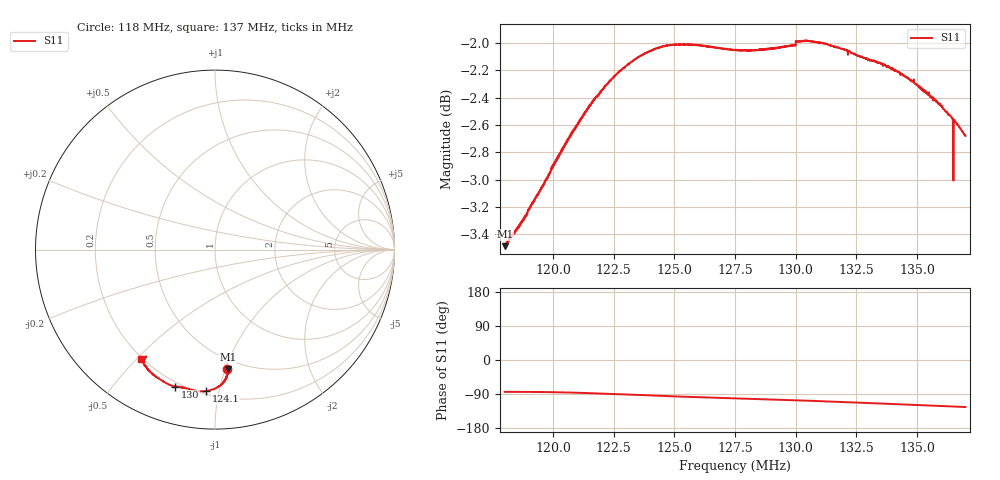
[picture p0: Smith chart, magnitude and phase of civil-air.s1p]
! Calibrated averaged scanner-service zoom
# Hz S RI R 50
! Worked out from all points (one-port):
!   2001 points, 118 MHz to 137 MHz, reference 50 ohm
!   lowest |S11| = -3.5 dB at 118 MHz (marker M1), VSWR 5.05, Z = 21.1 - j50.9 ohm
!   |S11| at or under -10 dB: nowhere
!   S11 on the Smith chart (normalised r, x): 118 MHz: 0.42, -1.02; 124.1 MHz: 0.22, -0.91; 130 MHz: 0.18, -0.74; 137 MHz: 0.19, -0.52
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1.18e8  0.0696 -0.6665
1.18019e8  0.0706 -0.6656
1.18798e8  0.0678 -0.6809
1.19368e8  0.0686 -0.6962
1.199285e8  0.0644 -0.7119
1.20375e8  0.0584 -0.7245
1.20926e8  0.0481 -0.7376
1.215055e8  0.0348 -0.7521
1.22066e8  0.0191 -0.7638
1.2275e8  -0.00337 -0.7758
1.234435e8  -0.0276 -0.7839
1.2408e8  -0.0499 -0.788
1.25125e8  -0.0863 -0.7887
1.263505e8  -0.1243 -0.7821
1.275e8  -0.1542 -0.7746
1.28963e8  -0.1913 -0.7667
1.29875e8  -0.2172 -0.7623
1.30008e8  -0.2225 -0.7641
1.30445e8  -0.2357 -0.7603
1.310815e8  -0.2556 -0.7522
1.3225e8  -0.2923 -0.7324
1.33751e8  -0.3356 -0.7024
1.34625e8  -0.3597 -0.6821
1.359075e8  -0.3894 -0.646
1.364015e8  -0.4006 -0.63
1.36601e8  -0.4046 -0.6232
1.366105e8  -0.4053 -0.6226
1.37e8  -0.4113 -0.6086
